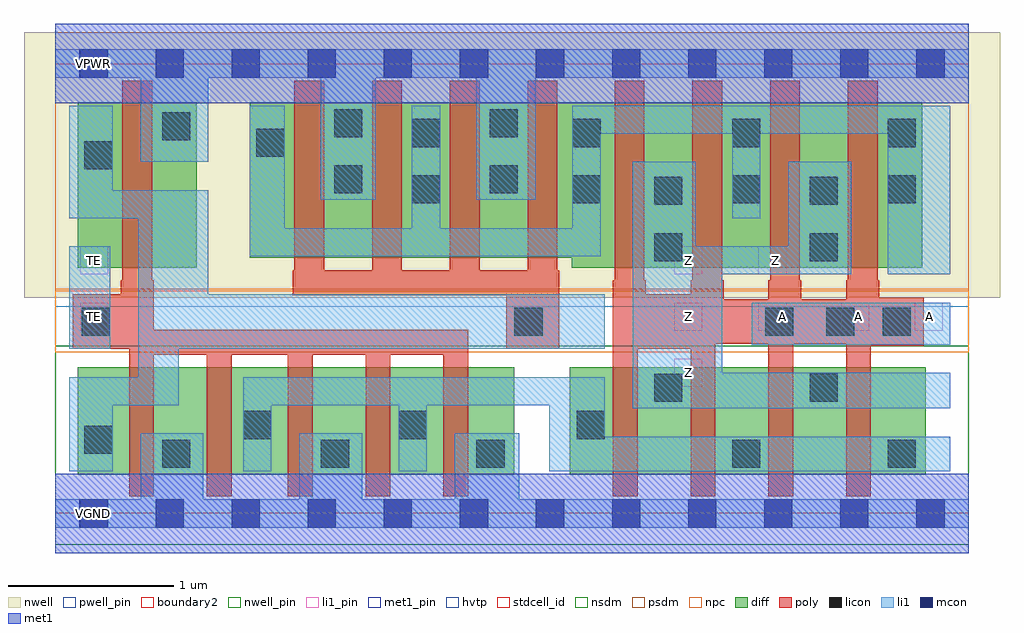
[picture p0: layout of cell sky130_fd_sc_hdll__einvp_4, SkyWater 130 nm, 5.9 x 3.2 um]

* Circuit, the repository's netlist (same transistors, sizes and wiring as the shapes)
* Copyright 2020 The SkyWater PDK Authors
*
* Licensed under the Apache License, Version 2.0 (the "License");
* you may not use this file except in compliance with the License.
* You may obtain a copy of the License at
*
*     https://www.apache.org/licenses/LICENSE-2.0
*
* Unless required by applicable law or agreed to in writing, software
* distributed under the License is distributed on an "AS IS" BASIS,
* WITHOUT WARRANTIES OR CONDITIONS OF ANY KIND, either express or implied.
* See the License for the specific language governing permissions and
* limitations under the License.
*
* SPDX-License-Identifier: Apache-2.0

.SUBCKT sky130_fd_sc_hdll__einvp_4 A TE VGND VNB VPB VPWR Z
*.PININFO A:I TE:I VGND:I VNB:I VPB:I VPWR:I Z:O
MMN0 Z A sndA VNB sky130_fd_pr__nfet_01v8 m=4 w=0.65U l=0.15U mult=1 sa=0.265 sb=0.265
+ sd=0.28 area=0.063 perim=1.14
MMN1 sndA TE VGND VNB sky130_fd_pr__nfet_01v8 m=4 w=0.65U l=0.15U mult=1 sa=0.265
+ sb=0.265 sd=0.28 area=0.063 perim=1.14
MMIN1 TEB TE VGND VNB sky130_fd_pr__nfet_01v8 m=1 w=0.65U l=0.15U mult=1 sa=0.265
+ sb=0.265 sd=0.28 area=0.063 perim=1.14
MMP0 VPWR TEB sndTEB VPB sky130_fd_pr__pfet_01v8_hvt m=4 w=0.94U l=0.18U mult=1
+ sa=0.265 sb=0.265 sd=0.28 area=0.063 perim=1.14
MMP1 sndTEB A Z VPB sky130_fd_pr__pfet_01v8_hvt m=4 w=1.0U l=0.18U mult=1 sa=0.265
+ sb=0.265 sd=0.28 area=0.063 perim=1.14
MMIP1 TEB TE VPWR VPB sky130_fd_pr__pfet_01v8_hvt m=1 w=1.0U l=0.18U mult=1 sa=0.265
+ sb=0.265 sd=0.28 area=0.063 perim=1.14
.ENDS sky130_fd_sc_hdll__einvp_4

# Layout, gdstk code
import gdstk
lib = gdstk.Library(unit=1e-6, precision=1e-09)
def R(c, l, rs):  # rectangles x0, y0, x1, y1
    for r in rs: c.add(gdstk.rectangle(r[:2], r[2:], *l))
def A(c, l, x, y, w, h, nx, ny, dx, dy):  # array of equal rectangles
    R(c, l, [(x+i*dx, y+j*dy, x+i*dx+w, y+j*dy+h) for i in range(nx) for j in range(ny)])
def P(c, l, *ps):  # polygons
    for p in ps: c.add(gdstk.Polygon(p, *l))
nwell_pin = (64, 16)
nwell = (64, 20)
diff = (65, 20)
poly = (66, 20)
licon = (66, 44)
li1_pin = (67, 16)
li1 = (67, 20)
mcon = (67, 44)
met1_pin = (68, 16)
met1 = (68, 20)
hvtp = (78, 44)
stdcell_id = (81, 4)
nsdm = (93, 44)
psdm = (94, 20)
npc = (95, 20)
pwell_pin = (122, 16)
boundary2 = (236, 0)

sky130_fd_sc_hdll__einvp = lib.new_cell('sky130_fd_sc_hdll__einvp_4')
R(sky130_fd_sc_hdll__einvp, nwell_pin, [(0.15,2.635,0.32,2.805)])
R(sky130_fd_sc_hdll__einvp, nwell, [(-0.19,1.305,5.71,2.91)])
R(sky130_fd_sc_hdll__einvp, diff, [(0.135,0.235,2.775,0.885), (3.11,0.235,5.26,0.885), (0.135,1.485,0.855,2.485)])
P(sky130_fd_sc_hdll__einvp, diff, [(5.24,2.485),(1.175,2.485),(1.175,1.545),(3.12,1.545),(3.12,1.485),(5.24,1.485)])
P(sky130_fd_sc_hdll__einvp, poly, [(2.495,1.11),(0.595,1.11),(0.595,1.41),(0.585,1.41),(0.585,2.615),(0.405,2.615),(0.405,1.41),(0.395,1.41),(0.395,1.325),(0.105,1.325),(0.105,0.995),(0.445,0.995),(0.445,0.105),(0.595,0.105),(0.595,0.96),(0.915,0.96),(0.915,0.105),(1.065,0.105),(1.065,0.96),(1.405,0.96),(1.405,0.105),(1.555,0.105),(1.555,0.96),(1.875,0.96),(1.875,0.105),(2.025,0.105),(2.025,0.96),(2.345,0.96),(2.345,0.105),(2.495,0.105)],
  [(3.045,1.47),(3.035,1.47),(3.035,2.615),(2.855,2.615),(2.855,1.47),(2.565,1.47),(2.565,2.615),(2.385,2.615),(2.385,1.47),(2.095,1.47),(2.095,2.615),(1.915,2.615),(1.915,1.47),(1.625,1.47),(1.625,2.615),(1.445,2.615),(1.445,1.47),(1.435,1.47),(1.435,1.32),(2.725,1.32),(2.725,0.995),(3.045,0.995)],
  [(5.25,1.305),(4.98,1.305),(4.98,1.41),(4.97,1.41),(4.97,2.615),(4.79,2.615),(4.79,1.41),(4.78,1.41),(4.78,1.295),(4.51,1.295),(4.51,1.41),(4.5,1.41),(4.5,2.615),(4.32,2.615),(4.32,1.41),(4.31,1.41),(4.31,1.295),(4.04,1.295),(4.04,1.41),(4.03,1.41),(4.03,2.615),(3.85,2.615),(3.85,1.41),(3.84,1.41),(3.84,1.325),(3.57,1.325),(3.57,1.41),(3.56,1.41),(3.56,2.615),(3.38,2.615),(3.38,1.41),(3.37,1.41),(3.37,0.105),(3.52,0.105),(3.52,0.995),(3.84,0.995),(3.84,0.105),(3.99,0.105),(3.99,1.025),(4.31,1.025),(4.31,0.105),(4.46,0.105),(4.46,1.025),(4.78,1.025),(4.78,0.105),(4.93,0.105),(4.93,1.015),(5.25,1.015)])
R(sky130_fd_sc_hdll__einvp, licon, [(0.645,0.275,0.815,0.445), (1.605,0.275,1.775,0.445), (2.545,0.275,2.715,0.445), (4.09,0.275,4.26,0.445), (5.03,0.275,5.2,0.445), (0.175,0.36,0.345,0.53), (1.135,0.45,1.305,0.62), (2.075,0.45,2.245,0.62), (3.15,0.45,3.32,0.62), (3.62,0.675,3.79,0.845), (4.56,0.675,4.73,0.845), (0.16,1.075,0.33,1.245), (2.775,1.075,2.945,1.245), (4.29,1.075,4.46,1.245), (4.66,1.075,4.83,1.245), (5,1.075,5.17,1.245), (3.62,1.525,3.79,1.695), (4.56,1.525,4.73,1.695), (3.62,1.865,3.79,2.035), (4.56,1.865,4.73,2.035), (2.155,1.875,2.325,2.045), (3.125,1.875,3.295,2.045), (4.09,1.875,4.26,2.045), (5.03,1.875,5.2,2.045), (1.685,1.935,1.855,2.105), (2.625,1.935,2.795,2.105), (0.175,2.08,0.345,2.25), (1.215,2.155,1.385,2.325), (2.155,2.215,2.325,2.385), (3.125,2.215,3.295,2.385), (4.09,2.215,4.26,2.385), (5.03,2.215,5.2,2.385), (0.645,2.255,0.815,2.425), (1.685,2.275,1.855,2.445), (2.625,2.275,2.795,2.445)])
A(sky130_fd_sc_hdll__einvp, li1_pin, 3.74, 0.765, 0.17, 0.17, 1, 3, 0, 0.34)
R(sky130_fd_sc_hdll__einvp, li1_pin, [(0.15,1.105,0.32,1.275), (4.25,1.105,4.42,1.275), (4.75,1.105,4.92,1.275), (5.195,1.105,5.365,1.275), (0.15,1.445,0.32,1.615), (4.25,1.445,4.42,1.615)])
R(sky130_fd_sc_hdll__einvp, li1, [(0.085,0.995,0.33,1.615), (4.21,1.02,5.41,1.275)])
P(sky130_fd_sc_hdll__einvp, li1, [(5.52,2.805),(0,2.805),(0,2.635),(0.515,2.635),(0.515,2.125),(0.925,2.125),(0.925,2.635),(1.605,2.635),(1.605,1.895),(1.935,1.895),(1.935,2.635),(2.545,2.635),(2.545,1.895),(2.905,1.895),(2.905,2.635),(5.52,2.635)],
  [(5.52,0.085),(2.805,0.085),(2.805,0.485),(2.415,0.485),(2.415,0.085),(1.855,0.085),(1.855,0.485),(1.475,0.485),(1.475,0.085),(0.895,0.085),(0.895,0.485),(0.515,0.485),(0.515,0.085),(0,0.085),(0,-0.085),(5.52,-0.085)],
  [(3.32,1.325),(0.925,1.325),(0.925,1.955),(0.345,1.955),(0.345,2.465),(0.085,2.465),(0.085,1.785),(0.5,1.785),(0.5,0.825),(0.085,0.825),(0.085,0.255),(0.345,0.255),(0.345,0.655),(0.745,0.655),(0.745,0.995),(3.32,0.995)],
  [(5.41,2.465),(3.125,2.465),(3.125,1.725),(2.325,1.725),(2.325,2.465),(2.155,2.465),(2.155,1.725),(1.385,1.725),(1.385,2.465),(1.175,2.465),(1.175,1.555),(3.295,1.555),(3.295,2.295),(4.09,2.295),(4.09,1.785),(4.26,1.785),(4.26,2.295),(5.03,2.295),(5.03,1.445),(5.41,1.445)],
  [(5.41,0.85),(4.03,0.85),(4.03,1.445),(4.81,1.445),(4.81,2.125),(4.43,2.125),(4.43,1.615),(3.87,1.615),(3.87,2.125),(3.49,2.125),(3.49,0.635),(5.41,0.635)],
  [(5.41,0.465),(3.32,0.465),(3.32,0.825),(1.135,0.825),(1.135,0.255),(1.305,0.255),(1.305,0.655),(2.075,0.655),(2.075,0.255),(2.245,0.255),(2.245,0.655),(2.985,0.655),(2.985,0.255),(5.41,0.255)])
A(sky130_fd_sc_hdll__einvp, mcon, 0.145, -0.085, 0.17, 0.17, 12, 2, 0.46, 2.72)
R(sky130_fd_sc_hdll__einvp, met1_pin, [(0.15,-0.085,0.32,0.085), (0.15,2.635,0.32,2.805)])
R(sky130_fd_sc_hdll__einvp, met1, [(0,-0.24,5.52,0.24), (0,2.48,5.52,2.96)])
R(sky130_fd_sc_hdll__einvp, hvtp, [(0,1.25,5.52,2.72)])
R(sky130_fd_sc_hdll__einvp, stdcell_id, [(0,0,5.52,2.72)])
R(sky130_fd_sc_hdll__einvp, nsdm, [(0,-0.19,5.52,1.015)])
R(sky130_fd_sc_hdll__einvp, psdm, [(0,1.355,5.52,2.91)])
R(sky130_fd_sc_hdll__einvp, npc, [(0,0.975,5.52,1.345)])
R(sky130_fd_sc_hdll__einvp, pwell_pin, [(0.15,-0.085,0.32,0.085)])
R(sky130_fd_sc_hdll__einvp, boundary2, [(0,0,5.52,2.72)])
sky130_fd_sc_hdll__einvp.add(gdstk.Label('TE', (0.235,1.53), layer=67, texttype=5))
sky130_fd_sc_hdll__einvp.add(gdstk.Label('TE', (0.235,1.19), layer=67, texttype=5))
sky130_fd_sc_hdll__einvp.add(gdstk.Label('A', (4.855,1.19), layer=67, texttype=5))
sky130_fd_sc_hdll__einvp.add(gdstk.Label('A', (4.395,1.19), layer=67, texttype=5))
sky130_fd_sc_hdll__einvp.add(gdstk.Label('A', (5.285,1.19), layer=67, texttype=5))
sky130_fd_sc_hdll__einvp.add(gdstk.Label('Z', (4.35,1.53), layer=67, texttype=5))
sky130_fd_sc_hdll__einvp.add(gdstk.Label('Z', (3.825,1.53), layer=67, texttype=5))
sky130_fd_sc_hdll__einvp.add(gdstk.Label('Z', (3.825,0.85), layer=67, texttype=5))
sky130_fd_sc_hdll__einvp.add(gdstk.Label('Z', (3.825,1.19), layer=67, texttype=5))
sky130_fd_sc_hdll__einvp.add(gdstk.Label('VPWR', (0.23,2.72), layer=68, texttype=5))
sky130_fd_sc_hdll__einvp.add(gdstk.Label('VGND', (0.23,0), layer=68, texttype=5))
sky130_fd_sc_hdll__einvp.add(gdstk.Label('VPB', (0.23,2.72), layer=64, texttype=5))
sky130_fd_sc_hdll__einvp.add(gdstk.Label('VNB', (0.23,0), layer=64, texttype=59))
sky130_fd_sc_hdll__einvp.add(gdstk.Label('einvp_4', (0,0), layer=83, texttype=44))

lib.write_gds('sky130_fd_sc_hdll__einvp_4.gds')
